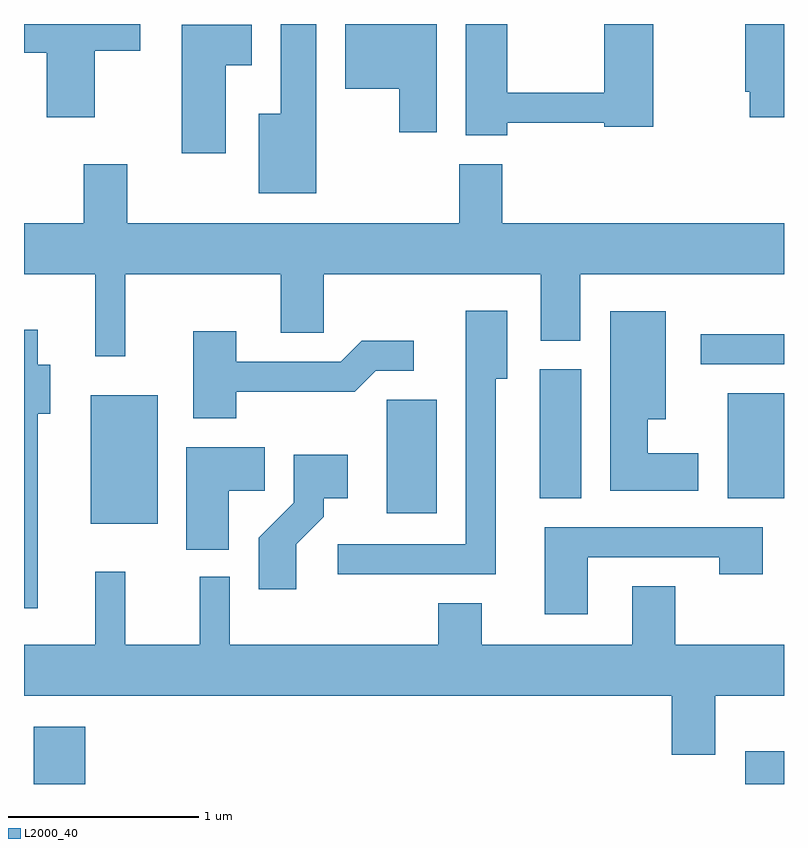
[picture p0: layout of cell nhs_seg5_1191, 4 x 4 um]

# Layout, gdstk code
import gdstk
lib = gdstk.Library(unit=1e-6, precision=1e-09)
def R(c, l, rs):  # rectangles x0, y0, x1, y1
    for r in rs: c.add(gdstk.rectangle(r[:2], r[2:], *l))
def P(c, l, *ps):  # polygons
    for p in ps: c.add(gdstk.Polygon(p, *l))
L2000_40 = (2000, 40)

nhs_seg5_1191 = lib.new_cell('nhs_seg5_1191')
R(nhs_seg5_1191, L2000_40, [(219.661,1494.072,219.934,1494.374), (223.406,1494.072,223.611,1494.244), (219.961,1495.441,220.314,1496.119), (221.521,1495.496,221.784,1496.094), (222.326,1495.576,222.544,1496.254), (223.316,1495.576,223.611,1496.129), (223.173,1496.281,223.611,1496.439)])
P(nhs_seg5_1191, L2000_40, [(221.784,1498.072),(221.301,1498.072),(221.301,1497.731),(221.586,1497.731),(221.586,1497.501),(221.784,1497.501)],
  [(222.154,1497.551),(222.666,1497.551),(222.666,1497.531),(222.924,1497.531),(222.924,1498.072),(222.666,1498.072),(222.666,1497.709),(222.154,1497.709),(222.154,1498.072),(221.936,1498.072),(221.936,1497.486),(222.154,1497.486)],
  [(221.149,1498.072),(220.961,1498.072),(220.961,1497.599),(220.846,1497.599),(220.846,1497.181),(221.149,1497.181)],
  [(219.984,1497.931),(220.224,1497.931),(220.224,1498.072),(219.611,1498.072),(219.611,1497.921),(219.731,1497.921),(219.731,1497.581),(219.984,1497.581)],
  [(223.611,1498.072),(223.406,1498.072),(223.406,1497.716),(223.431,1497.716),(223.431,1497.581),(223.611,1497.581)],
  [(220.674,1497.856),(220.809,1497.856),(220.809,1498.069),(220.441,1498.069),(220.441,1497.391),(220.674,1497.391)],
  [(220.144,1496.756),(220.961,1496.756),(220.961,1496.446),(221.189,1496.446),(221.189,1496.756),(222.331,1496.756),(222.331,1496.406),(222.539,1496.406),(222.539,1496.756),(223.611,1496.756),(223.611,1497.024),(222.129,1497.024),(222.129,1497.334),(221.901,1497.334),(221.901,1497.024),(220.154,1497.024),(220.154,1497.334),(219.926,1497.334),(219.926,1497.024),(219.611,1497.024),(219.611,1496.756),(219.986,1496.756),(219.986,1496.323),(220.144,1496.323)],
  [(222.094,1496.206),(222.154,1496.206),(222.154,1496.564),(221.936,1496.564),(221.936,1495.334),(221.263,1495.334),(221.263,1495.176),(222.094,1495.176)],
  [(223.159,1495.814),(222.894,1495.814),(222.894,1495.991),(222.989,1495.991),(222.989,1496.559),(222.696,1496.559),(222.696,1495.616),(223.159,1495.616)],
  [(219.684,1496.021),(219.749,1496.021),(219.749,1496.279),(219.684,1496.279),(219.684,1496.464),(219.611,1496.464),(219.611,1494.998),(219.684,1494.998)],
  [(220.729,1496.136),(221.352,1496.136),(221.462,1496.246),(221.663,1496.246),(221.663,1496.404),(221.389,1496.404),(221.279,1496.294),(220.729,1496.294),(220.729,1496.454),(220.501,1496.454),(220.501,1495.996),(220.729,1495.996)],
  [(220.689,1495.616),(220.879,1495.616),(220.879,1495.844),(220.466,1495.844),(220.466,1495.306),(220.689,1495.306)],
  [(221.044,1495.334),(221.189,1495.479),(221.189,1495.576),(221.314,1495.576),(221.314,1495.804),(221.031,1495.804),(221.031,1495.552),(220.846,1495.367),(220.846,1495.096),(221.044,1495.096)],
  [(222.579,1495.266),(223.271,1495.266),(223.271,1495.176),(223.499,1495.176),(223.499,1495.424),(222.351,1495.424),(222.351,1494.966),(222.579,1494.966)],
  [(223.249,1494.536),(223.611,1494.536),(223.611,1494.804),(223.039,1494.804),(223.039,1495.114),(222.811,1495.114),(222.811,1494.804),(222.019,1494.804),(222.019,1495.024),(221.791,1495.024),(221.791,1494.804),(220.694,1494.804),(220.694,1495.163),(220.536,1495.163),(220.536,1494.804),(220.144,1494.804),(220.144,1495.188),(219.986,1495.188),(219.986,1494.804),(219.611,1494.804),(219.611,1494.536),(223.021,1494.536),(223.021,1494.226),(223.249,1494.226)])

lib.write_gds('nhs_seg5_1191.gds')
